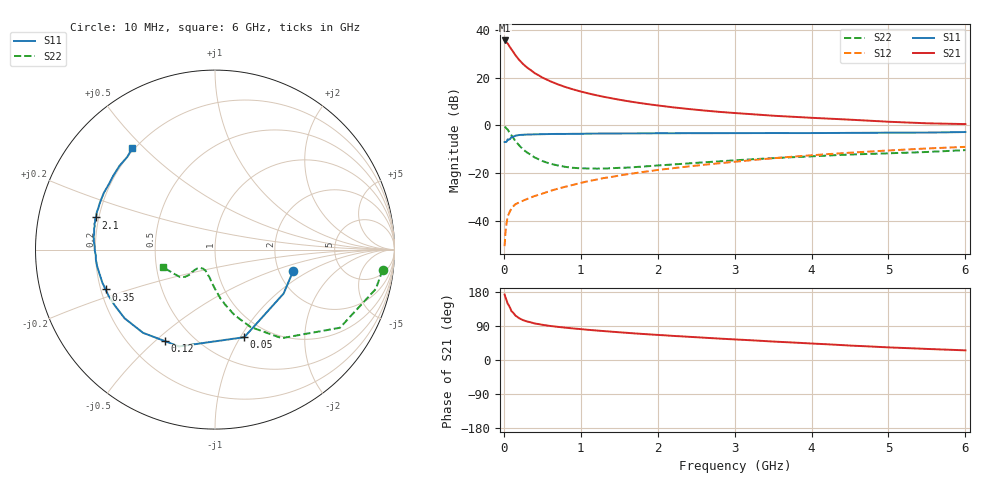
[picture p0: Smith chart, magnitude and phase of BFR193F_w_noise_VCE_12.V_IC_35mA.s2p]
! (c) 2017  Infineon Technologies AG, Munich
! Infineon Technologies  Discrete & RF Semiconductors
! BFR193F
! VCE =  12. V,  IC =  35 mA
! Common Emitter S-Parameters:  Jan 2017
# GHz  S  MA  R  50
!  f  S11  S21  S12  S22
! GHz  MAG  ANG  MAG  ANG  MAG  ANG  MAG  ANG
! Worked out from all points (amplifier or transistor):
!   77 points, 10 MHz to 6 GHz, reference 50 ohm
!   highest |S21| = 35.6 dB at 10 MHz (marker M1)
!   |S21| within 3 dB of that: start of sweep to 83.82 MHz
!   unconditionally stable (mu >= 1): 1.16 GHz to 2.711 GHz
!   at 130 MHz: K = 0.38, MSG = 32.0 dB, |S12| = -33.6 dB
!   at 2.2 GHz: K = 1.02, MAG = 11.8 dB, |S12| = -17.9 dB
!   at 6 GHz: K = 0.84, MSG = 4.8 dB, |S12| = -8.9 dB
!   lowest NFmin = 1.26 dB at 450 MHz
!   S11 on the Smith chart (normalised r, x): 10 MHz: 2.38, -0.73; 50 MHz: 0.78, -1.04; 120 MHz: 0.35, -0.54; 350 MHz: 0.22, -0.17; 2.1 GHz: 0.19, +0.13; 6 GHz: 0.19, +0.46
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0.01  0.4512 -15.6  59.92 172.7  0.003 77.2  0.9404 -6.9
0.02  0.454 -32.6  58.2 165.9  0.0055 73.7  0.9227 -13.7
0.05  0.5146 -71.5  51.71 148.7  0.0125 64.3  0.8213 -32.0
0.1  0.5758 -110.4  38.87 128.8  0.0186 52.8  0.6179 -53.0
0.12  0.5816 -118.8  34.99 125.0  0.0202 50.8  0.5577 -57.2
0.15  0.6129 -130.8  29.57 117.4  0.0226 48.4  0.4745 -65.3
0.2  0.6325 -142.7  23.45 110.1  0.0247 47.0  0.3824 -73.3
0.25  0.6394 -150.8  19.25 105.2  0.0268 49.4  0.316 -79.1
0.3  0.6463 -156.3  16.35 101.7  0.029 52.2  0.2734 -83.7
0.35  0.6488 -160.0  14.38 99.4  0.0312 53.5  0.2437 -86.7
0.4  0.654 -163.7  12.45 96.4  0.0335 54.6  0.2148 -90.6
0.5  0.658 -168.5  10.07 92.9  0.0376 57.6  0.1812 -96.0
0.6  0.6634 -172.2  8.453 89.9  0.0427 60.8  0.159 -100.9
0.7  0.6659 -175.2  7.271 87.5  0.0476 62.8  0.1463 -105.3
0.8  0.6651 -177.4  6.372 85.3  0.0525 64.3  0.1364 -109.7
1.1  0.6748 176.9  4.675 79.6  0.0687 68.3  0.1266 -118.8
1.5  0.6806 171.5  3.462 73.2  0.0898 70.5  0.1301 -127.7
2.1  0.6882 164.9  2.51 65.0  0.1227 71.8  0.1494 -133.8
3.1  0.6928 156.3  1.777 53.3  0.1805 71.3  0.1911 -135.2
4.1  0.6954 147.5  1.422 42.5  0.2447 68.2  0.2305 -138.7
5.1  0.708 137.6  1.18 32.5  0.3063 63.3  0.2656 -149.8
6  0.7295 129.1  1.07 25.4  0.3577 58.3  0.3058 -161.2
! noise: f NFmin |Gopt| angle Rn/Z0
0.45  1.26  0.42  178  0.06
0.9  1.35  0.44  178  0.07
1.9  1.9  0.58  -166  0.08
2.4  2.2  0.61  -157  0.12
